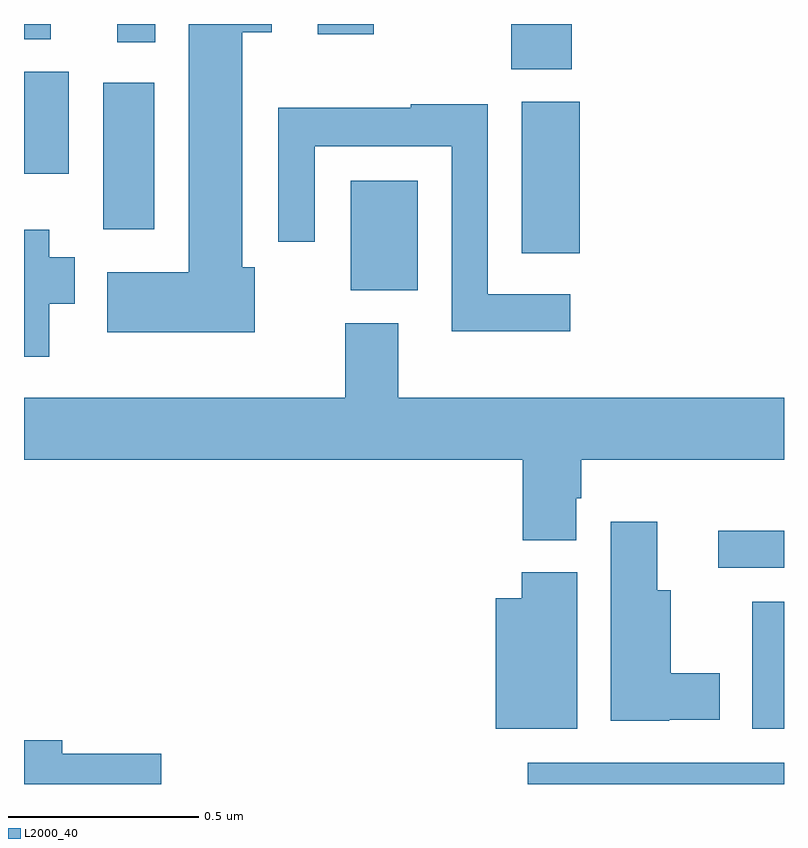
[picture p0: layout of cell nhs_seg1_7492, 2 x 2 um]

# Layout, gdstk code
import gdstk
lib = gdstk.Library(unit=1e-6, precision=1e-09)
def R(c, l, rs):  # rectangles x0, y0, x1, y1
    for r in rs: c.add(gdstk.rectangle(r[:2], r[2:], *l))
def P(c, l, *ps):  # polygons
    for p in ps: c.add(gdstk.Polygon(p, *l))
L2000_40 = (2000, 40)

nhs_seg1_7492 = lib.new_cell('nhs_seg1_7492')
R(nhs_seg1_7492, L2000_40, [(205.325,564.199,206,564.255), (205.916,564.344,206,564.679), (205.827,564.768,206,564.866), (204.86,565.499,205.036,565.786), (205.31,565.596,205.463,565.995), (204.209,565.659,204.343,566.044), (204,565.805,204.118,566.074), (205.282,566.08,205.442,566.199), (204.245,566.151,204.346,566.199), (204,566.159,204.07,566.199), (204.773,566.172,204.921,566.199)])
P(nhs_seg1_7492, L2000_40, [(204.607,565.559),(204.574,565.559),(204.574,566.177),(204.652,566.177),(204.652,566.199),(204.434,566.199),(204.434,565.546),(204.219,565.546),(204.219,565.388),(204.607,565.388)],
  [(205.438,565.488),(205.221,565.488),(205.221,565.988),(205.018,565.988),(205.018,565.978),(204.669,565.978),(204.669,565.626),(204.765,565.626),(204.765,565.877),(205.125,565.877),(205.125,565.391),(205.438,565.391)],
  [(204.067,565.463),(204.133,565.463),(204.133,565.585),(204.067,565.585),(204.067,565.657),(204,565.657),(204,565.323),(204.067,565.323)],
  [(205.453,564.951),(205.466,564.951),(205.466,565.052),(206,565.052),(206,565.216),(204.985,565.216),(204.985,565.411),(204.845,565.411),(204.845,565.216),(204,565.216),(204,565.052),(205.313,565.052),(205.313,564.841),(205.453,564.841)],
  [(205.698,564.368),(205.831,564.368),(205.831,564.49),(205.702,564.49),(205.702,564.709),(205.666,564.709),(205.666,564.889),(205.544,564.889),(205.544,564.365),(205.698,564.365)],
  [(205.456,564.756),(205.31,564.756),(205.31,564.688),(205.241,564.688),(205.241,564.344),(205.456,564.344)],
  [(204.361,564.278),(204.1,564.278),(204.1,564.314),(204,564.314),(204,564.199),(204.361,564.199)])

lib.write_gds('nhs_seg1_7492.gds')
